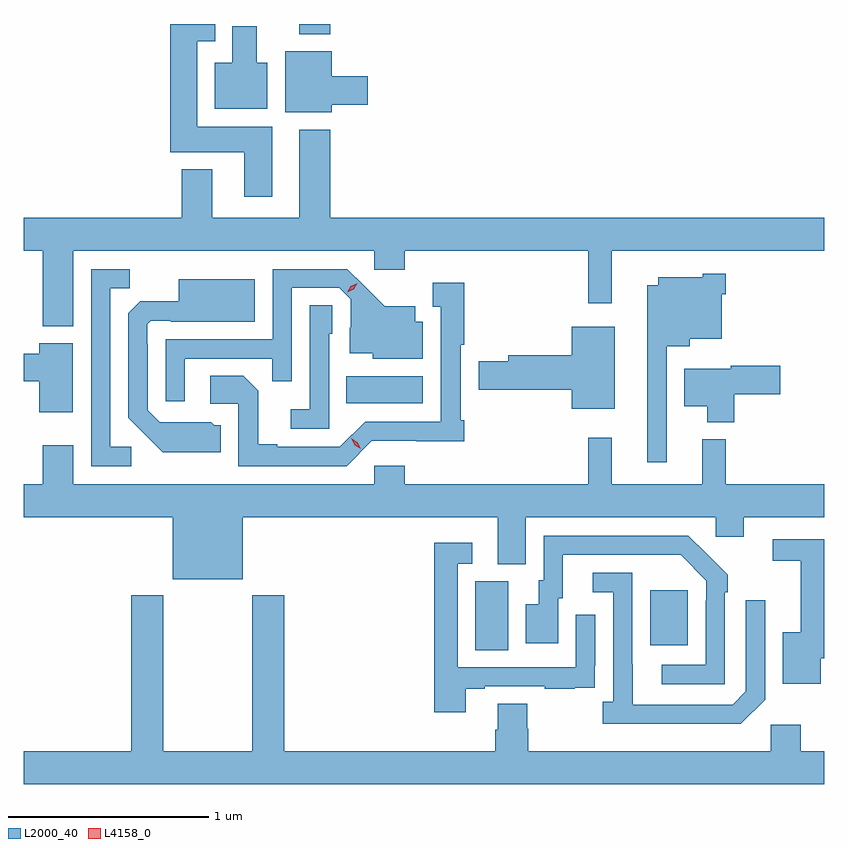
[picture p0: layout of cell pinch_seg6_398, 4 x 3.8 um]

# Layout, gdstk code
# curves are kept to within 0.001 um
import gdstk
lib = gdstk.Library(unit=1e-6, precision=1e-09)
def R(c, l, rs):  # rectangles x0, y0, x1, y1
    for r in rs: c.add(gdstk.rectangle(r[:2], r[2:], *l))
def P(c, l, *ps):  # polygons
    for p in ps: c.add(gdstk.Polygon(p, *l))
L2000_40 = (2000, 40)
L4158_0 = (4158, 0)

pinch_seg6_398 = lib.new_cell('pinch_seg6_398')
R(pinch_seg6_398, L2000_40, [(666.374,933.352,666.538,933.696), (667.247,933.377,667.435,933.652), (665.728,934.586,666.112,934.72), (665.495,936.428,665.648,936.48)])
P(pinch_seg6_398, L2000_40, [(665.359,935.968),(664.984,935.968),(664.984,936.395),(665.074,936.395),(665.074,936.48),(664.85,936.48),(664.85,935.84),(665.219,935.84),(665.219,935.616),(665.359,935.616)],
  [(665.335,936.286),(665.281,936.286),(665.281,936.469),(665.159,936.469),(665.159,936.286),(665.072,936.286),(665.072,936.056),(665.335,936.056)],
  [(665.656,936.077),(665.836,936.077),(665.836,936.219),(665.656,936.219),(665.656,936.343),(665.423,936.343),(665.423,936.038),(665.656,936.038)],
  [(665.868,935.253),(666.02,935.253),(666.02,935.348),(666.937,935.348),(666.937,935.085),(667.056,935.085),(667.056,935.348),(668.117,935.348),(668.117,935.512),(665.648,935.512),(665.648,935.953),(665.495,935.953),(665.495,935.512),(665.059,935.512),(665.059,935.755),(664.907,935.755),(664.907,935.512),(664.117,935.512),(664.117,935.348),(664.214,935.348),(664.214,934.97),(664.366,934.97),(664.366,935.348),(665.868,935.348)],
  [(664.923,934.809),(665.359,934.809),(665.359,934.696),(665.457,934.696),(665.457,935.163),(665.694,935.163),(665.751,935.106),(665.751,934.964),(665.747,934.964),(665.747,934.835),(665.862,934.835),(665.862,934.808),(666.112,934.808),(666.112,934.993),(666.073,934.993),(666.073,935.071),(665.921,935.071),(665.734,935.256),(665.361,935.256),(665.361,934.905),(664.827,934.905),(664.827,934.596),(664.923,934.596)],
  [(664.654,934.368),(664.551,934.368),(664.551,935.161),(664.647,935.161),(664.647,935.256),(664.455,935.256),(664.455,934.272),(664.654,934.272)],
  [(667.329,934.871),(667.444,934.871),(667.444,934.907),(667.603,934.907),(667.603,935.129),(667.625,935.129),(667.625,935.233),(667.509,935.233),(667.509,935.215),(667.286,935.215),(667.286,935.176),(667.232,935.176),(667.232,934.29),(667.329,934.29)],
  [(665.101,934.476),(665.07,934.476),(665.054,934.492),(664.797,934.491),(664.737,934.551),(664.737,934.88),(664.734,934.88),(664.734,934.98),(664.752,934.998),(664.852,934.998),(664.852,934.994),(665.272,934.994),(665.272,935.206),(664.892,935.206),(664.892,935.095),(664.7,935.095),(664.641,935.036),(664.641,934.514),(664.813,934.34),(665.101,934.34)],
  [(665.856,934.398),(666.319,934.397),(666.319,934.501),(666.301,934.501),(666.301,934.879),(666.319,934.879),(666.319,935.188),(666.161,935.188),(666.161,935.067),(666.2,935.067),(666.2,934.494),(665.823,934.494),(665.697,934.368),(665.383,934.368),(665.383,934.381),(665.289,934.381),(665.289,934.648),(665.213,934.724),(665.049,934.724),(665.049,934.584),(665.19,934.584),(665.19,934.272),(665.73,934.272)],
  [(665.643,934.932),(665.658,934.932),(665.658,935.075),(665.547,935.075),(665.547,934.555),(665.451,934.555),(665.451,934.458),(665.643,934.458)],
  [(667.069,934.969),(666.854,934.969),(666.854,934.826),(666.539,934.826),(666.539,934.796),(666.39,934.796),(666.39,934.654),(666.854,934.654),(666.854,934.559),(667.069,934.559)],
  [(664.363,934.885),(664.196,934.885),(664.196,934.832),(664.117,934.832),(664.117,934.696),(664.196,934.696),(664.196,934.542),(664.363,934.542)],
  [(667.667,934.63),(667.897,934.63),(667.897,934.772),(667.65,934.772),(667.65,934.759),(667.418,934.759),(667.418,934.571),(667.532,934.571),(667.532,934.49),(667.667,934.49)],
  [(665.212,934.016),(666.485,934.016),(666.485,933.781),(666.625,933.781),(666.625,934.016),(667.575,934.016),(667.575,933.918),(667.714,933.918),(667.714,934.016),(668.117,934.016),(668.117,934.18),(667.625,934.18),(667.625,934.405),(667.508,934.405),(667.508,934.18),(667.055,934.18),(667.055,934.414),(666.937,934.414),(666.937,934.18),(666.02,934.18),(666.02,934.273),(665.868,934.273),(665.868,934.18),(664.366,934.18),(664.366,934.375),(664.214,934.375),(664.214,934.18),(664.117,934.18),(664.117,934.016),(664.862,934.016),(664.862,933.707),(665.212,933.707)],
  [(667.62,933.641),(667.635,933.641),(667.635,933.729),(667.438,933.924),(666.714,933.924),(666.714,933.702),(666.689,933.702),(666.689,933.583),(666.626,933.583),(666.626,933.387),(666.787,933.387),(666.787,933.612),(666.811,933.612),(666.811,933.828),(667.399,933.828),(667.527,933.699),(667.527,933.599),(667.524,933.599),(667.524,933.279),(667.305,933.279),(667.305,933.183),(667.62,933.183)],
  [(668.098,933.313),(668.117,933.313),(668.117,933.906),(667.86,933.906),(667.86,933.798),(668,933.798),(668,933.442),(667.91,933.442),(667.91,933.185),(668.098,933.185)],
  [(666.325,933.159),(666.421,933.159),(666.421,933.171),(666.721,933.171),(666.721,933.159),(666.869,933.159),(666.869,933.165),(666.971,933.165),(666.971,933.274),(666.972,933.274),(666.972,933.529),(666.876,933.529),(666.876,933.267),(666.285,933.267),(666.285,933.783),(666.358,933.783),(666.358,933.889),(666.169,933.889),(666.169,933.042),(666.325,933.042)],
  [(667.821,933.105),(667.821,933.601),(667.725,933.601),(667.725,933.147),(667.659,933.081),(667.159,933.081),(667.158,933.738),(666.96,933.738),(666.96,933.642),(667.062,933.642),(667.062,933.094),(667.011,933.094),(667.011,932.984),(667.7,932.984)],
  [(668.117,932.848),(668,932.848),(668,932.98),(667.848,932.98),(667.848,932.848),(666.638,932.848),(666.638,932.961),(666.633,932.961),(666.633,933.086),(666.485,933.086),(666.485,932.954),(666.473,932.954),(666.473,932.848),(665.42,932.848),(665.42,933.628),(665.26,933.628),(665.26,932.848),(664.815,932.848),(664.815,933.628),(664.655,933.628),(664.655,932.848),(664.117,932.848),(664.117,932.684),(668.117,932.684)])
P(pinch_seg6_398, L4158_0, [(665.801,934.358),(665.77,934.377),(665.753,934.41),(665.753,934.41),(665.753,934.41),(665.784,934.391),(665.801,934.358),(665.801,934.358)],
  [(665.734,935.139),(665.734,935.14),(665.752,935.169),(665.783,935.184),(665.783,935.184),(665.783,935.184),(665.765,935.154),(665.734,935.139)])

lib.write_gds('pinch_seg6_398.gds')
